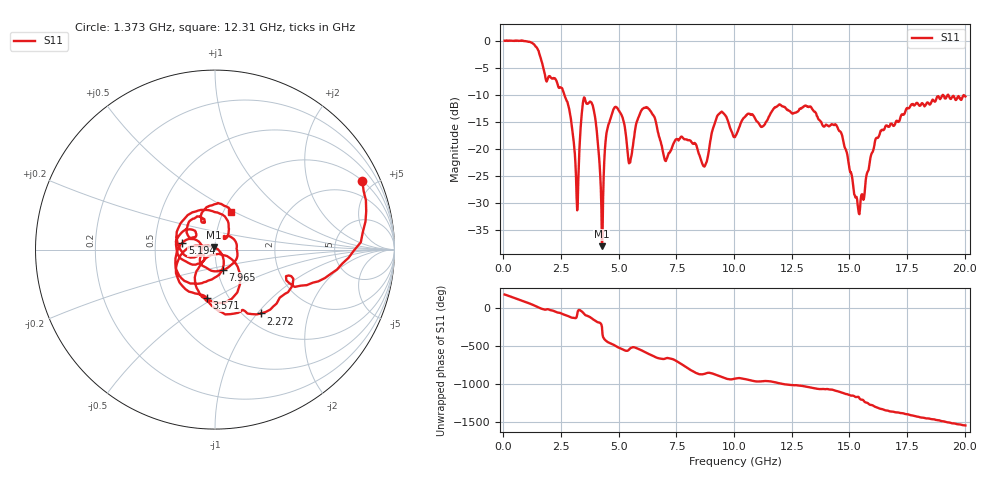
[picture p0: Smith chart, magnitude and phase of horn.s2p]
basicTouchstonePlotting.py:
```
'''

'''
import sys
sys.path.append('../')
import mwavepy1 as mvy
import pylab


# load a touchstone file into a 'ntwk' type
horn = mvy.Network('horn.s2p')

# plot the data in some different formats
pylab.figure(1)
pylab.title('Return Loss (Mag)')	
horn.plot_s_db(m=0,n=0)	# m,n are S-Matrix indecies


pylab.figure(2)
pylab.title('Return Loss (Phase)')
# all keyword arguments are passed to matplotlib.plot command
horn.plot_s_deg(0,0, label='Broadband Horn Antenna', color='r', linewidth=2)


pylab.figure(3)
pylab.title('Return Loss (Unwrapped Phase)')
horn.plot_s_deg_unwrapped(0,0)


pylab.figure(4)
horn.plot_s_polar(0,0, show_legend=False)
pylab.title('Return Loss')

# uncomment to save all figures, 
mvy.save_all_figs('.', format = ['png'])
pylab.show()
```
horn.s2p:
# GHz S MA R 50
! EEsoF format of Network Analyzer Results
!freq	S11Mag	S11Phase	S21Mag	S21Phase	S12Mag	S12Phase	S22Mag	S22Phase
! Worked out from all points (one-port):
!   801 points, 50 MHz to 20.03 GHz, reference 50 ohm
!   lowest |S11| = -38.0 dB at 4.27 GHz (marker M1), VSWR 1.03, Z = 49.6 + j1.19 ohm
!   |S11| at or under -10 dB: 2.647 GHz to 19.04 GHz (16.39 GHz wide, 151 % of centre); 19.06 GHz to 19.25 GHz (183.9 MHz wide, 0.96 % of centre); 19.29 GHz to 19.95 GHz (658.8 MHz wide, 3.36 % of centre)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
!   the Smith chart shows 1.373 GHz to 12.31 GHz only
!   S11 on the Smith chart (normalised r, x): 1.373 GHz: 1.02, +4.31; 2.272 GHz: 1.19, -1.05; 3.571 GHz: 0.80, -0.46; 5.194 GHz: 0.69, +0.05; 7.965 GHz: 1.06, -0.24; 12.31 GHz: 1.09, +0.49
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0.05  1.011 174.1  0 0.0  0 0.0  0 0.0
1.373346  0.9052 24.8  0 0.0  0 0.0  0 0.0
2.272222  0.4381 -54.3  0 0.0  0 0.0  0 0.0
3.570599  0.2725 -99.5  0 0.0  0 0.0  0 0.0
4.269725  0.01259 108.4  0 0.0  0 0.0  0 0.0
5.193571  0.1859 168.5  0 0.0  0 0.0  0 0.0
7.965106  0.1214 -69.8  0 0.0  0 0.0  0 0.0
10.03752  0.1292 147.3  0 0.0  0 0.0  0 0.0
12.30968  0.23 66.5  0 0.0  0 0.0  0 0.0
15.38084  0.02782 -92.3  0 0.0  0 0.0  0 0.0
20.02503  0.3074 -109.5  0 0.0  0 0.0  0 0.0
